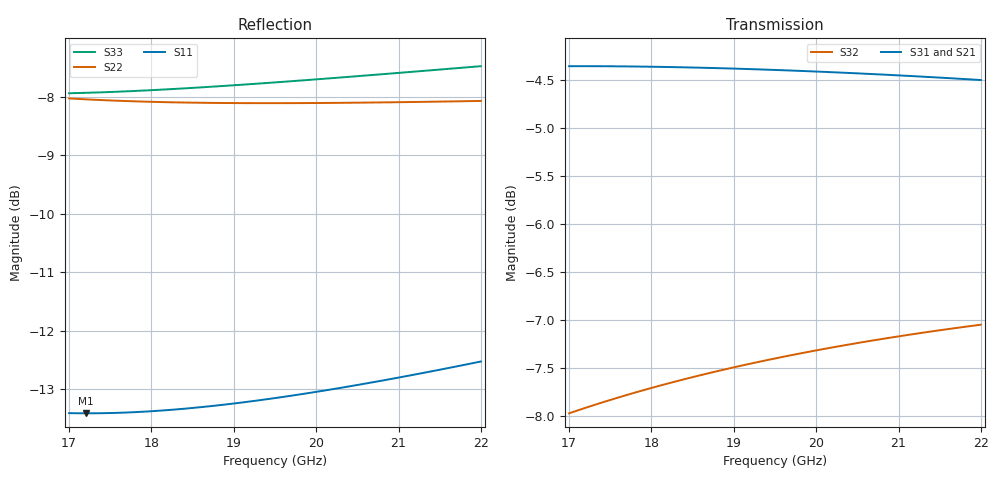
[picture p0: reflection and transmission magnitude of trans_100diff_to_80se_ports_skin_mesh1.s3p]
#  GHZ S DB R 50.0
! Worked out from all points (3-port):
!   51 points, 17 GHz to 22 GHz, reference 50 ohm
!   strongest paths, dB at 17 GHz, 18.2 GHz, 19.5 GHz, 20.8 GHz, 22 GHz:
!     S31: -4.4, -4.4, -4.4, -4.4, -4.5
!     S21: -4.5, -4.5, -4.4, -4.4, -4.4
!     S32: -8.0, -7.7, -7.4, -7.2, -7.0
!   lowest |S11| = -13.4 dB at 17.2 GHz (marker M1), VSWR 1.54, Z = 75.3 + j8.96 ohm
!   |S11| at or under -10 dB: start of sweep to end of sweep
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17  -13.41 17.9  -4.52 -172.7  -4.35 6.8
    -4.52 -172.7  -8.03 95.7  -7.97 72.6
    -4.35 6.8  -7.97 72.6  -7.94 92.5
17.2  -13.41 15.4  -4.51 -174.1  -4.35 5.4
      -4.51 -174.1  -8.05 93.7  -7.91 71.2
      -4.35 5.4  -7.91 71.2  -7.94 90.6
17.7  -13.40 9.4  -4.49 -177.7  -4.36 2.1
      -4.49 -177.7  -8.08 89.0  -7.78 67.9
      -4.36 2.1  -7.78 67.9  -7.91 86.0
18.3  -13.35 2.7  -4.47 178.2  -4.36 -1.9
      -4.47 178.2  -8.10 83.8  -7.63 64.1
      -4.36 -1.9  -7.63 64.1  -7.87 81.0
18.9  -13.26 -3.7  -4.45 174.2  -4.38 -5.6
      -4.45 174.2  -8.11 78.9  -7.51 60.4
      -4.38 -5.6  -7.51 60.4  -7.82 76.2
19.5  -13.15 -9.6  -4.44 170.3  -4.39 -9.3
      -4.44 170.3  -8.11 74.4  -7.40 56.9
      -4.39 -9.3  -7.40 56.9  -7.76 71.9
20.1  -13.02 -15.1  -4.44 166.6  -4.41 -12.8
      -4.44 166.6  -8.11 70.2  -7.30 53.6
      -4.41 -12.8  -7.30 53.6  -7.69 67.8
20.7  -12.88 -20.4  -4.43 162.9  -4.44 -16.3
      -4.43 162.9  -8.10 66.3  -7.21 50.4
      -4.44 -16.3  -7.21 50.4  -7.63 64.1
21.3  -12.72 -25.3  -4.43 159.4  -4.46 -19.7
      -4.43 159.4  -8.09 62.7  -7.13 47.4
      -4.46 -19.7  -7.13 47.4  -7.56 60.5
22  -12.53 -30.8  -4.44 155.3  -4.50 -23.5
    -4.44 155.3  -8.07 58.8  -7.04 43.9
    -4.50 -23.5  -7.04 43.9  -7.48 56.7
